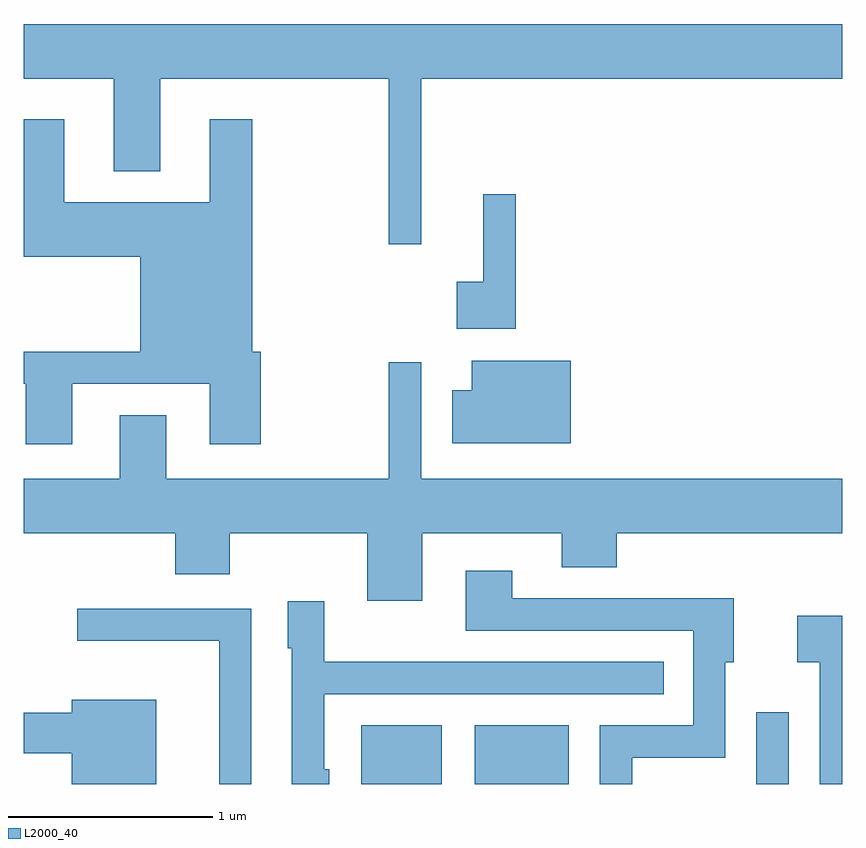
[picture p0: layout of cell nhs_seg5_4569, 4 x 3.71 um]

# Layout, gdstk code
import gdstk
lib = gdstk.Library(unit=1e-6, precision=1e-09)
def R(c, l, rs):  # rectangles x0, y0, x1, y1
    for r in rs: c.add(gdstk.rectangle(r[:2], r[2:], *l))
def P(c, l, *ps):  # polygons
    for p in ps: c.add(gdstk.Polygon(p, *l))
L2000_40 = (2000, 40)

nhs_seg5_4569 = lib.new_cell('nhs_seg5_4569')
R(nhs_seg5_4569, L2000_40, [(323.261,1400.072,323.654,1400.359), (323.816,1400.072,324.274,1400.359), (325.191,1400.072,325.349,1400.423)])
P(nhs_seg5_4569, L2000_40, [(323.554,1403.516),(325.611,1403.516),(325.611,1403.784),(321.611,1403.784),(321.611,1403.516),(322.051,1403.516),(322.051,1403.066),(322.279,1403.066),(322.279,1403.516),(323.396,1403.516),(323.396,1402.708),(323.554,1402.708)],
  [(321.849,1402.026),(322.521,1402.026),(322.521,1401.731),(322.769,1401.731),(322.769,1402.184),(322.729,1402.184),(322.729,1403.319),(322.521,1403.319),(322.521,1402.914),(321.809,1402.914),(321.809,1403.319),(321.611,1403.319),(321.611,1402.646),(322.181,1402.646),(322.181,1402.184),(321.611,1402.184),(321.611,1402.026),(321.621,1402.026),(321.621,1401.731),(321.849,1401.731)],
  [(324.014,1402.953),(323.856,1402.953),(323.856,1402.524),(323.726,1402.524),(323.726,1402.296),(324.014,1402.296)],
  [(324.284,1402.139),(323.801,1402.139),(323.801,1401.994),(323.706,1401.994),(323.706,1401.736),(324.284,1401.736)],
  [(323.559,1401.296),(324.241,1401.296),(324.241,1401.131),(324.509,1401.131),(324.509,1401.296),(325.611,1401.296),(325.611,1401.564),(323.554,1401.564),(323.554,1402.133),(323.396,1402.133),(323.396,1401.564),(322.309,1401.564),(322.309,1401.874),(322.081,1401.874),(322.081,1401.564),(321.611,1401.564),(321.611,1401.296),(322.351,1401.296),(322.351,1401.096),(322.619,1401.096),(322.619,1401.296),(323.291,1401.296),(323.291,1400.966),(323.559,1400.966)],
  [(324.584,1400.201),(325.039,1400.201),(325.039,1400.666),(325.079,1400.666),(325.079,1400.979),(323.999,1400.979),(323.999,1401.114),(323.771,1401.114),(323.771,1400.821),(324.881,1400.821),(324.881,1400.359),(324.426,1400.359),(324.426,1400.072),(324.584,1400.072)],
  [(323.104,1400.144),(323.079,1400.144),(323.079,1400.511),(324.738,1400.511),(324.738,1400.669),(323.079,1400.669),(323.079,1400.964),(322.901,1400.964),(322.901,1400.736),(322.921,1400.736),(322.921,1400.072),(323.104,1400.072)],
  [(322.724,1400.929),(321.873,1400.929),(321.873,1400.771),(322.566,1400.771),(322.566,1400.072),(322.724,1400.072)],
  [(325.611,1400.894),(325.391,1400.894),(325.391,1400.666),(325.501,1400.666),(325.501,1400.072),(325.611,1400.072)],
  [(322.259,1400.484),(321.846,1400.484),(321.846,1400.419),(321.611,1400.419),(321.611,1400.221),(321.846,1400.221),(321.846,1400.072),(322.259,1400.072)])

lib.write_gds('nhs_seg5_4569.gds')
